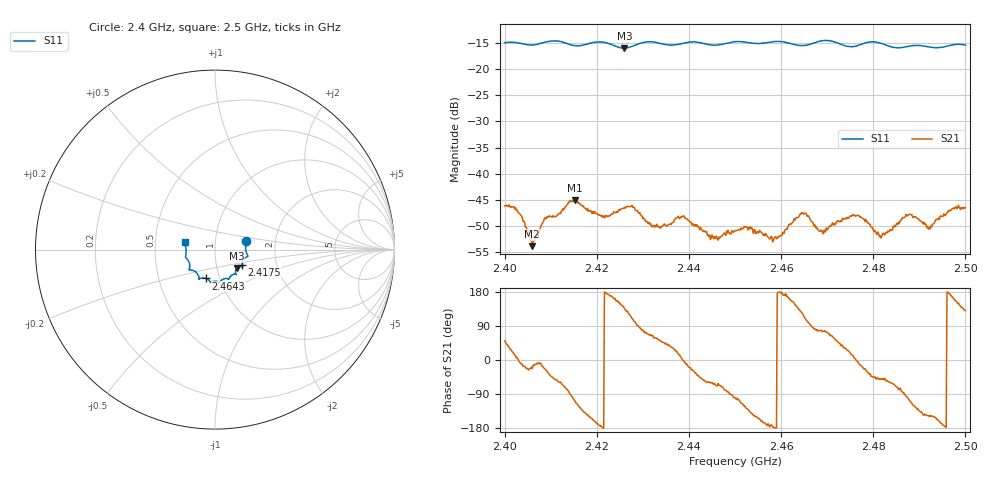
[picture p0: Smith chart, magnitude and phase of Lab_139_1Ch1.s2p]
# Hz S RI R 50
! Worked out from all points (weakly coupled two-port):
!   601 points, 2.4 GHz to 2.5 GHz, reference 50 ohm
!   highest |S21| = -45.05 dB at 2.4153 GHz (marker M1); lowest = -53.9 dB at 2.406 GHz (marker M2)
!   lowest |S11| = -16.0 dB at 2.426 GHz (marker M3), VSWR 1.38, Z = 62.2 - j13.2 ohm
!   |S11| at or under -10 dB: start of sweep to end of sweep
!   S12 and S22 are empty: the file has one direction only
!   S11 on the Smith chart (normalised r, x): 2.4 GHz: 1.41, +0.14; 2.4175 GHz: 1.33, -0.23; 2.4643 GHz: 0.86, -0.29; 2.5 GHz: 0.71, +0.06
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2.4e9  0.173 0.048  0.00317 0.00378  0 0  0 0
2.403167e9  0.1753 0.0339  0.00415 -0.000285  0 0  0 0
2.406e9  0.1707 0.00286  0.00187 -0.000779  0 0  0 0
2.409e9  0.1804 -0.0292  0.0033 -0.00166  0 0  0 0
2.415333e9  0.1578 -0.0578  -0.00191 -0.00525  0 0  0 0
2.416667e9  0.1523 -0.0732  -0.00321 -0.00383  0 0  0 0
2.4175e9  0.1512 -0.0832  -0.00353 -0.00305  0 0  0 0
2.426e9  0.121 -0.1037  -0.00344 0.0033  0 0  0 0
2.433333e9  0.1141 -0.1375  0.00181 0.00257  0 0  0 0
2.438667e9  0.0798 -0.158  0.00393 -3.48e-05  0 0  0 0
2.445167e9  0.055 -0.1613  0.00113 -0.00222  0 0  0 0
2.45e9  0.028 -0.1818  -0.000439 -0.00283  0 0  0 0
2.458667e9  -0.0226 -0.1829  -0.00247 -2.59e-05  0 0  0 0
2.464333e9  -0.0493 -0.161  -0.00248 0.00329  0 0  0 0
2.466667e9  -0.076 -0.1586  0.000141 0.00348  0 0  0 0
2.469167e9  -0.0895 -0.1657  0.000654 0.00258  0 0  0 0
2.4765e9  -0.1213 -0.116  0.00398 -0.000175  0 0  0 0
2.481333e9  -0.1432 -0.1075  0.00155 -0.00195  0 0  0 0
2.483333e9  -0.1405 -0.0903  0.00148 -0.00235  0 0  0 0
2.487667e9  -0.1585 -0.05  -0.000888 -0.00393  0 0  0 0
2.492167e9  -0.1617 -0.0242  -0.0026 -0.00153  0 0  0 0
2.5e9  -0.1646 0.0437  -0.00305 0.00363  0 0  0 0
